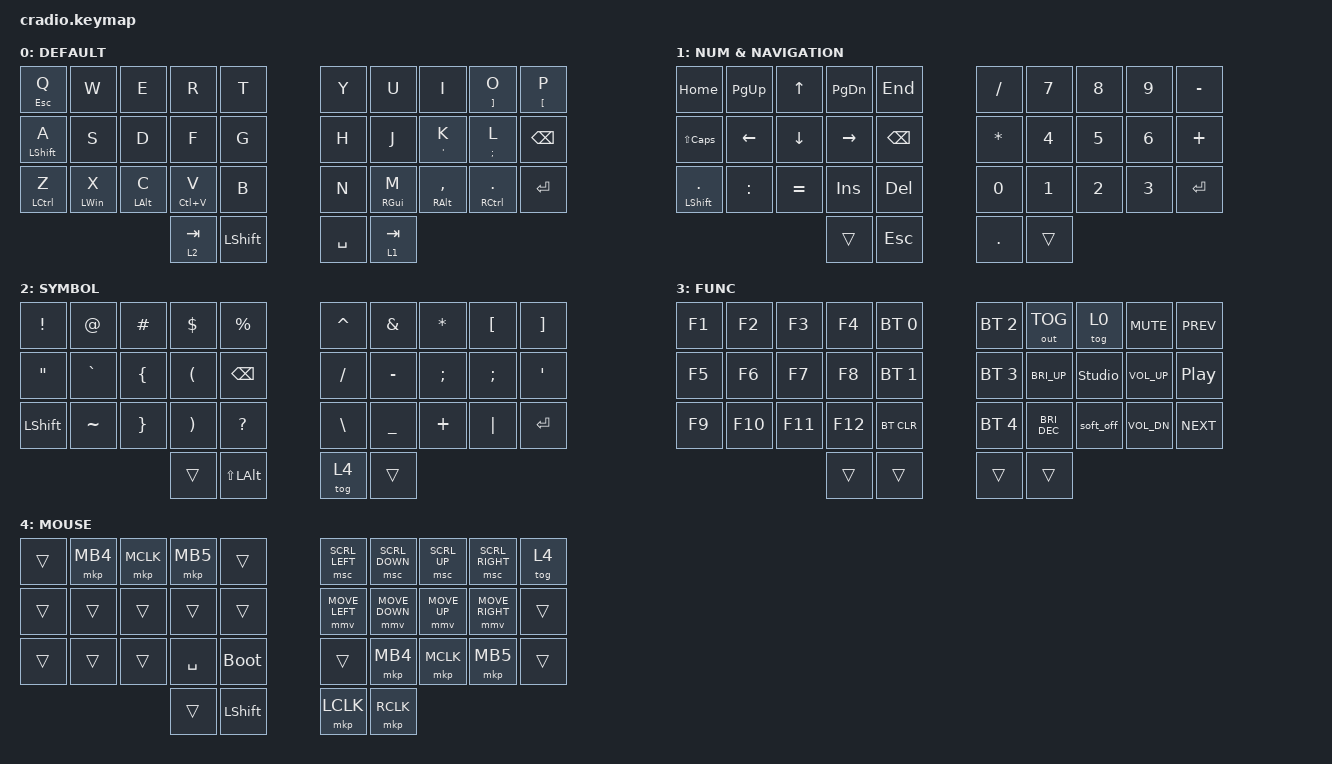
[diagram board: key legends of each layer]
// Copyright (c) 2022 The ZMK Contributors
// SPDX-License-Identifier: MIT

#define ZMK_POINTING_DEFAULT_MOVE_VAL 2500  // 600
#define ZMK_POINTING_DEFAULT_SCRL_VAL 20    // 10

#include <behaviors.dtsi>
#include <dt-bindings/zmk/bt.h>
#include <dt-bindings/zmk/keys.h>
#include <dt-bindings/zmk/outputs.h>
#include <dt-bindings/zmk/pointing.h>

#define MAC 0
#define WIN 1
#define RIG 2
#define LEF 3
#define TRI 4
#define MOUSE 5

// https://zmk.dev/docs/development/hardware-integration/soft-off-setup?advanced-methods=wakeup&kscan-type=dkscan

/ {
    keys {
        compatible = "gpio-keys";

        soft_off_gpio_key: soft_off_gpio_key { gpios = <&gpio1 6 (GPIO_ACTIVE_LOW | GPIO_PULL_UP)>; };
    };

    wakeup_scan: wakeup_scan {
        compatible = "zmk,kscan-gpio-direct";
        input-keys = <&soft_off_gpio_key>;
        wakeup-source;
    };

    side_band_behavior_triggers: side_band_behavior_triggers {
        compatible = "zmk,kscan-sideband-behaviors";
        kscan = <&wakeup_scan>;
        auto-enable;
        wakeup-source;
    };

    soft_off_wakers {
        compatible = "zmk,soft-off-wakeup-sources";
        wakeup-sources = <&wakeup_scan>;
    };
};

/ {
    chosen { zmk,charmap = &charmap_us; };

    behaviors {
        ht: hold_tap {
            label = "hold_tap";
            compatible = "zmk,behavior-hold-tap";
            #binding-cells = <2>;
            flavor = "balanced";
            tapping-term-ms = <300>;
            quick-tap-ms = <150>;
            global-quick-tap;
            bindings = <&kp>, <&kp>;
        };

        mmv {
            acceleration-exponent = <1>;      // 1
            time-to-max-speed-ms = <300>;    // 40
            delay-ms = <0>;                   // 0
        };

        msc {
            acceleration-exponent = <0>;      // 0
            time-to-max-speed-ms = <40>;      // 500
            delay-ms = <0>;                   // 10
        };
    };

    conditional_layers {
        compatible = "zmk,conditional-layers";

        tri_layer {
            if-layers = <1 2>;
            then-layer = <3>;
        };
    };

    keymap {
        compatible = "zmk,keymap";

        default_layer {
            display-name = "DEFAULT";
            bindings = <
&ht ESCAPE Q      &kp W           &kp E           &kp R        &kp T         &kp Y      &kp U            &kp I                &ht RIGHT_BRACKET O  &ht LEFT_BRACKET P
&ht LEFT_SHIFT A  &kp S           &kp D           &kp F        &kp G         &kp H      &kp J            &ht APOSTROPHE K     &ht SEMICOLON L      &kp BSPC
&ht LCTRL Z       &ht LEFT_WIN X  &ht LEFT_ALT C  &ht LC(V) V  &kp B         &kp N      &ht RIGHT_GUI M  &ht RIGHT_ALT COMMA  &ht RCTRL DOT        &kp ENTER
                                                  &lt 2 TAB    &kp LSHIFT    &kp SPACE  &lt 1 TAB
            >;
        };

        right_layer {
            display-name = "NUM & NAVIGATION";
            bindings = <
&kp HOME            &kp PG_UP       &kp UP_ARROW    &kp PAGE_DOWN    &kp END          &kp SLASH     &kp N7  &kp N8  &kp N9  &kp MINUS
&kp LS(CAPSLOCK)    &kp LEFT_ARROW  &kp DOWN_ARROW  &kp RIGHT_ARROW  &kp BACKSPACE    &kp ASTERISK  &kp N4  &kp N5  &kp N6  &kp PLUS
&ht LEFT_SHIFT DOT  &kp COLON       &kp EQUAL       &kp INS          &kp DELETE       &kp N0        &kp N1  &kp N2  &kp N3  &kp ENTER
                                                    &trans           &kp ESC          &kp PERIOD    &trans
            >;
        };

        left_layer {
            display-name = "SYMBOL";
            bindings = <
&kp EXCL        &kp AT     &kp HASH  &kp DLLR  &kp PRCNT           &kp CARET  &kp AMPS   &kp ASTRK      &kp LEFT_BRACKET  &kp RIGHT_BRACKET
&kp DQT         &kp GRAVE  &kp LBRC  &kp LPAR  &kp BACKSPACE       &kp FSLH   &kp MINUS  &kp SEMICOLON  &kp SEMI          &kp SQT
&kp LEFT_SHIFT  &kp TILDE  &kp RBRC  &kp RPAR  &kp QUESTION        &kp BSLH   &kp UNDER  &kp PLUS       &kp PIPE          &kp ENTER
                                     &trans    &kp LS(LEFT_ALT)    &tog 4     &trans
            >;
        };

        tri_layer {
            display-name = "FUNC";
            bindings = <
&kp F1  &kp F2   &kp F3   &kp F4   &bt BT_SEL 0    &bt BT_SEL 2  &out OUT_TOG   &tog 0          &kp C_MUTE    &kp C_PREV
&kp F5  &kp F6   &kp F7   &kp F8   &bt BT_SEL 1    &bt BT_SEL 3  &kp C_BRI_UP   &studio_unlock  &kp C_VOL_UP  &kp C_PP
&kp F9  &kp F10  &kp F11  &kp F12  &bt BT_CLR      &bt BT_SEL 4  &kp C_BRI_DEC  &soft_off       &kp C_VOL_DN  &kp C_NEXT
                          &trans   &trans          &trans        &trans
            >;
        };

        mouse {
            display-name = "MOUSE";
            bindings = <
&trans  &mkp MB4  &mkp MCLK  &mkp MB5   &trans         &msc SCRL_LEFT  &msc SCRL_DOWN  &msc SCRL_UP  &msc SCRL_RIGHT  &tog 4
&trans  &trans    &trans     &trans     &trans         &mmv MOVE_LEFT  &mmv MOVE_DOWN  &mmv MOVE_UP  &mmv MOVE_RIGHT  &trans
&trans  &trans    &trans     &kp SPACE  &bootloader    &trans          &mkp MB4        &mkp MCLK     &mkp MB5         &trans
                             &trans     &kp LSHIFT     &mkp LCLK       &mkp RCLK
            >;
        };
    };
};
